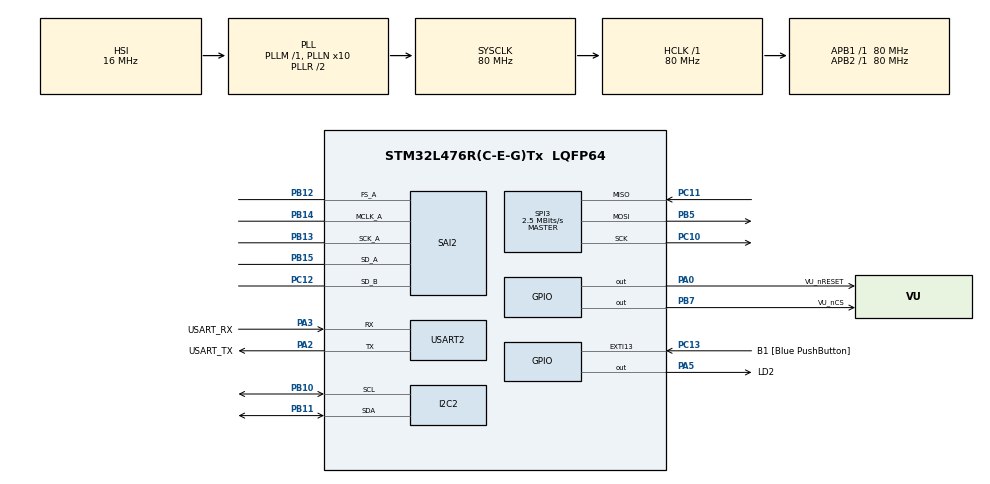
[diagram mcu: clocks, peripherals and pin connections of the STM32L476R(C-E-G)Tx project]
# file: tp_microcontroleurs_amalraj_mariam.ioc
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Dma.Request0=SAI2_A
Dma.Request1=SAI2_B
Dma.SAI2_A.0.Direction=DMA_MEMORY_TO_PERIPH
Dma.SAI2_A.0.Instance=DMA1_Channel6
Dma.SAI2_A.0.MemDataAlignment=DMA_MDATAALIGN_WORD
Dma.SAI2_A.0.MemInc=DMA_MINC_ENABLE
Dma.SAI2_A.0.Mode=DMA_CIRCULAR
Dma.SAI2_A.0.PeriphDataAlignment=DMA_PDATAALIGN_WORD
Dma.SAI2_A.0.PeriphInc=DMA_PINC_DISABLE
Dma.SAI2_A.0.Priority=DMA_PRIORITY_LOW
Dma.SAI2_B.1.Direction=DMA_PERIPH_TO_MEMORY
Dma.SAI2_B.1.Instance=DMA1_Channel7
Dma.SAI2_B.1.MemDataAlignment=DMA_MDATAALIGN_WORD
Dma.SAI2_B.1.MemInc=DMA_MINC_ENABLE
Dma.SAI2_B.1.Mode=DMA_CIRCULAR
Dma.SAI2_B.1.PeriphDataAlignment=DMA_PDATAALIGN_WORD
Dma.SAI2_B.1.PeriphInc=DMA_PINC_DISABLE
Dma.SAI2_B.1.Priority=DMA_PRIORITY_LOW
I2C2.Timing=0x10D19CE4
Mcu.Family=STM32L4
Mcu.Name=STM32L476R(C-E-G)Tx
Mcu.Package=LQFP64
NVIC.DMA1_Channel6_IRQn=true\:0\:0\:false\:false\:true\:false\:true\:true
NVIC.DMA1_Channel7_IRQn=true\:0\:0\:false\:false\:true\:false\:true\:true
NVIC.I2C2_EV_IRQn=true\:0\:0\:false\:false\:true\:true\:true\:true
NVIC.PriorityGroup=NVIC_PRIORITYGROUP_4
NVIC.SAI2_IRQn=true\:0\:0\:false\:false\:true\:true\:true\:true
PA0.GPIO_Label=VU_nRESET
PA0.PinState=GPIO_PIN_SET
PA0.Signal=GPIO_Output
PA13\ (JTMS-SWDIO).GPIO_Label=TMS
PA13\ (JTMS-SWDIO).Mode=Serial_Wire
PA13\ (JTMS-SWDIO).Signal=SYS_JTMS-SWDIO
PA14\ (JTCK-SWCLK).GPIO_Label=TCK
PA14\ (JTCK-SWCLK).Mode=Serial_Wire
PA14\ (JTCK-SWCLK).Signal=SYS_JTCK-SWCLK
PA2.GPIO_Label=USART_TX
PA2.GPIO_Mode=GPIO_MODE_AF_PP
PA2.GPIO_PuPd=GPIO_NOPULL
PA2.GPIO_Speed=GPIO_SPEED_FREQ_VERY_HIGH
PA2.Mode=Asynchronous
PA2.Signal=USART2_TX
PA3.GPIO_Label=USART_RX
PA3.GPIO_Mode=GPIO_MODE_AF_PP
PA3.GPIO_PuPd=GPIO_NOPULL
PA3.GPIO_Speed=GPIO_SPEED_FREQ_VERY_HIGH
PA3.Mode=Asynchronous
PA3.Signal=USART2_RX
PA5.GPIO_Label=LD2
PA5.GPIO_ModeDefaultOutputPP=GPIO_MODE_OUTPUT_PP
PA5.GPIO_PuPd=GPIO_NOPULL
PA5.GPIO_Speed=GPIO_SPEED_FREQ_LOW
PA5.Signal=GPIO_Output
PB10.Mode=I2C
PB10.Signal=I2C2_SCL
PB11.Mode=I2C
PB11.Signal=I2C2_SDA
PB12.Mode=SAI_A_MasterWithClock
PB12.Signal=SAI2_FS_A
PB13.Mode=SAI_A_MasterWithClock
PB13.Signal=SAI2_SCK_A
PB14.Mode=SAI_A_MasterWithClock
PB14.Signal=SAI2_MCLK_A
PB15.Mode=SAI_A_MasterWithClock
PB15.Signal=SAI2_SD_A
PB3\ (JTDO-TRACESWO).GPIO_Label=SWO
PB3\ (JTDO-TRACESWO).Signal=SYS_JTDO-SWO
PB5.Mode=Full_Duplex_Master
PB5.Signal=SPI3_MOSI
PB7.GPIO_Label=VU_nCS
PB7.PinState=GPIO_PIN_SET
PB7.Signal=GPIO_Output
PC10.Mode=Full_Duplex_Master
PC10.Signal=SPI3_SCK
PC11.Mode=Full_Duplex_Master
PC11.Signal=SPI3_MISO
PC12.Mode=SAI_B_SyncSlave
PC12.Signal=SAI2_SD_B
PC13.GPIO_Label=B1 [Blue PushButton]
PC13.GPIO_ModeDefaultEXTI=GPIO_MODE_IT_FALLING
PC13.GPIO_PuPd=GPIO_NOPULL
PC13.Signal=GPXTI13
PC14-OSC32_IN\ (PC14).Mode=LSE-External-Oscillator
PC14-OSC32_IN\ (PC14).Signal=RCC_OSC32_IN
PC15-OSC32_OUT\ (PC15).Mode=LSE-External-Oscillator
PC15-OSC32_OUT\ (PC15).Signal=RCC_OSC32_OUT
PH0-OSC_IN\ (PH0).Signal=RCC_OSC_IN
PH1-OSC_OUT\ (PH1).Signal=RCC_OSC_OUT
ProjectManager.HeapSize=0x200
ProjectManager.StackSize=0x400
ProjectManager.TargetToolchain=STM32CubeIDE
RCC.ADCFreq_Value=104000000
RCC.AHBFreq_Value=80000000
RCC.APB1Freq_Value=80000000
RCC.APB1TimFreq_Value=80000000
RCC.APB2Freq_Value=80000000
RCC.APB2TimFreq_Value=80000000
RCC.CortexFreq_Value=80000000
RCC.HCLKFreq_Value=80000000
RCC.HSE_VALUE=8000000
RCC.HSI_VALUE=16000000
RCC.MSI_VALUE=4000000
RCC.PLLN=10
RCC.PLLSAI1N=13
RCC.PLLSAI1P=RCC_PLLP_DIV17
RCC.PLLSourceVirtual=RCC_PLLSOURCE_HSI
RCC.PREFETCH_ENABLE=1
RCC.SYSCLKFreq_VALUE=80000000
RCC.SYSCLKSource=RCC_SYSCLKSOURCE_PLLCLK
RCC.USBFreq_Value=104000000
RCC.VCOOutputFreq_Value=160000000
SAI2.AudioFrequency-SAI_A_MasterWithClock=SAI_AUDIO_FREQUENCY_48K
SAI2.ErrorAudioFreq-SAI_A_MasterWithClock=-0.42 %
SAI2.InitProtocol-SAI_A_MasterWithClock=Enable
SAI2.InitProtocol-SAI_B_SyncSlave=Enable
SAI2.Instance-SAI_A_MasterWithClock=SAI$Index_Block_A
SAI2.Instance-SAI_B_SyncSlave=SAI$Index_Block_B
SAI2.MClockEnable-SAI_A_MasterWithClock=SAI_MASTERCLOCK_ENABLE
SAI2.RealAudioFreq-SAI_A_MasterWithClock=47.794 KHz
SAI2.VirtualMode-SAI_A_MasterWithClock=VM_MASTER
SAI2.VirtualMode-SAI_B_SyncSlave=VM_SLAVE
SAI2.VirtualProtocol-SAI_A_BASIC=VM_BASIC_PROTOCOL
SAI2.VirtualProtocol-SAI_B_BASIC=VM_BASIC_PROTOCOL
SPI3.BaudRatePrescaler=SPI_BAUDRATEPRESCALER_32
SPI3.CalculateBaudRate=2.5 MBits/s
SPI3.DataSize=SPI_DATASIZE_8BIT
SPI3.Direction=SPI_DIRECTION_2LINES
SPI3.Mode=SPI_MODE_MASTER
SPI3.VirtualType=VM_MASTER
USART2.VirtualMode-Asynchronous=VM_ASYNC
VP_SAI2_VP_$IpInstance_SAIA_SAI_BASIC.Mode=SAI_A_BASIC
VP_SAI2_VP_$IpInstance_SAIB_SAI_BASIC.Mode=SAI_B_BASIC
board=NUCLEO-L476RG

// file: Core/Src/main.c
/* USER CODE BEGIN Header */
/**
 ******************************************************************************
 * @file           : main.c
 * @brief          : Main program body
 ******************************************************************************
 * @attention
 *
 * Copyright (c) 2025 STMicroelectronics.
 * All rights reserved.
 *
 * This software is licensed under terms that can be found in the LICENSE file
 * in the root directory of this software component.
 * If no LICENSE file comes with this software, it is provided AS-IS.
 *
 ******************************************************************************
 */
/* USER CODE END Header */
#include "main.h"

/* USER CODE BEGIN Includes */
#include "led.h"
#include "MCP_functions.h"
#include "SGTL5000.h"

#include <stdio.h>
#include <stdbool.h>

/* USER CODE END Includes */

I2C_HandleTypeDef hi2c2;

SAI_HandleTypeDef hsai_BlockA2;
SAI_HandleTypeDef hsai_BlockB2;
DMA_HandleTypeDef hdma_sai2_a;
DMA_HandleTypeDef hdma_sai2_b;

SPI_HandleTypeDef hspi3;

UART_HandleTypeDef huart2;

/* USER CODE BEGIN PV */

LED leds[16];

/* USER CODE END PV */

void SystemClock_Config(void);
void PeriphCommonClock_Config(void);
static void MX_GPIO_Init(void);
static void MX_DMA_Init(void);
static void MX_USART2_UART_Init(void);
static void MX_SPI3_Init(void);
static void MX_I2C2_Init(void);
static void MX_SAI2_Init(void);

/* USER CODE BEGIN 0 */
// minicom -D /dev/ttyACM0
// Pour quitter : ctrl+a puis q
int __io_putchar(int chr)
{
	HAL_UART_Transmit(&huart2, (uint8_t*) &chr, 1, HAL_MAX_DELAY);
	return chr;
}

/* USER CODE END 0 */

int main(void)
{

	/* MCU Configuration--------------------------------------------------------*/

	/* Reset of all peripherals, Initializes the Flash interface and the Systick. */
	HAL_Init();

	/* Configure the system clock */
	SystemClock_Config();

	/* Configure the peripherals common clocks */
	PeriphCommonClock_Config();

	/* Initialize all configured peripherals */
	MX_GPIO_Init();
	MX_DMA_Init();
	MX_USART2_UART_Init();
	MX_SPI3_Init();
	MX_I2C2_Init();
	MX_SAI2_Init();

	__HAL_SAI_ENABLE(&hsai_BlockA2);
	/* USER CODE BEGIN 2 */

	printf("DEBUT\r\n");
	SGTL5000_Init(&hi2c2);
	MCP23S17_Init();
	LED_Init(leds);
	uint16_t data;

	uint16_t audioRxBuffer[32]; // Buffer pour la réception audio
	uint16_t audioTxBuffer[32]; // Buffer pour la transmission audio

	for (int i = 0 ; i < 32 ; i++)
		{
			audioTxBuffer[i] = i * (0xFFFF/32);
		}

	HAL_SAI_Receive_DMA(&hsai_BlockB2, (uint8_t*)audioRxBuffer, 32);
	HAL_SAI_Transmit_DMA(&hsai_BlockA2, (uint8_t*)audioTxBuffer, 32);

	/* USER CODE END 2 */

	/* Infinite loop */
	/* USER CODE BEGIN WHILE */
	while (1)
	{
		chenillard();

		/* USER CODE END WHILE */

	}
}

void SystemClock_Config(void)
{
	RCC_OscInitTypeDef RCC_OscInitStruct = {0};
	RCC_ClkInitTypeDef RCC_ClkInitStruct = {0};

	/** Configure the main internal regulator output voltage
	 */
	if (HAL_PWREx_ControlVoltageScaling(PWR_REGULATOR_VOLTAGE_SCALE1) != HAL_OK)
	{
		Error_Handler();
	}

	/** Initializes the RCC Oscillators according to the specified parameters
	 * in the RCC_OscInitTypeDef structure.
	 */
	RCC_OscInitStruct.OscillatorType = RCC_OSCILLATORTYPE_HSI;
	RCC_OscInitStruct.HSIState = RCC_HSI_ON;
	RCC_OscInitStruct.HSICalibrationValue = RCC_HSICALIBRATION_DEFAULT;
	RCC_OscInitStruct.PLL.PLLState = RCC_PLL_ON;
	RCC_OscInitStruct.PLL.PLLSource = RCC_PLLSOURCE_HSI;
	RCC_OscInitStruct.PLL.PLLM = 1;
	RCC_OscInitStruct.PLL.PLLN = 10;
	RCC_OscInitStruct.PLL.PLLP = RCC_PLLP_DIV7;
	RCC_OscInitStruct.PLL.PLLQ = RCC_PLLQ_DIV2;
	RCC_OscInitStruct.PLL.PLLR = RCC_PLLR_DIV2;
	if (HAL_RCC_OscConfig(&RCC_OscInitStruct) != HAL_OK)
	{
		Error_Handler();
	}

	/** Initializes the CPU, AHB and APB buses clocks
	 */
	RCC_ClkInitStruct.ClockType = RCC_CLOCKTYPE_HCLK|RCC_CLOCKTYPE_SYSCLK
			|RCC_CLOCKTYPE_PCLK1|RCC_CLOCKTYPE_PCLK2;
	RCC_ClkInitStruct.SYSCLKSource = RCC_SYSCLKSOURCE_PLLCLK;
	RCC_ClkInitStruct.AHBCLKDivider = RCC_SYSCLK_DIV1;
	RCC_ClkInitStruct.APB1CLKDivider = RCC_HCLK_DIV1;
	RCC_ClkInitStruct.APB2CLKDivider = RCC_HCLK_DIV1;

	if (HAL_RCC_ClockConfig(&RCC_ClkInitStruct, FLASH_LATENCY_4) != HAL_OK)
	{
		Error_Handler();
	}
}

void PeriphCommonClock_Config(void)
{
	RCC_PeriphCLKInitTypeDef PeriphClkInit = {0};

	/** Initializes the peripherals clock
	 */
	PeriphClkInit.PeriphClockSelection = RCC_PERIPHCLK_SAI2;
	PeriphClkInit.Sai2ClockSelection = RCC_SAI2CLKSOURCE_PLLSAI1;
	PeriphClkInit.PLLSAI1.PLLSAI1Source = RCC_PLLSOURCE_HSI;
	PeriphClkInit.PLLSAI1.PLLSAI1M = 1;
	PeriphClkInit.PLLSAI1.PLLSAI1N = 13;
	PeriphClkInit.PLLSAI1.PLLSAI1P = RCC_PLLP_DIV17;
	PeriphClkInit.PLLSAI1.PLLSAI1Q = RCC_PLLQ_DIV2;
	PeriphClkInit.PLLSAI1.PLLSAI1R = RCC_PLLR_DIV2;
	PeriphClkInit.PLLSAI1.PLLSAI1ClockOut = RCC_PLLSAI1_SAI1CLK;
	if (HAL_RCCEx_PeriphCLKConfig(&PeriphClkInit) != HAL_OK)
	{
		Error_Handler();
	}
}

static void MX_I2C2_Init(void)
{

	hi2c2.Instance = I2C2;
	hi2c2.Init.Timing = 0x10D19CE4;
	hi2c2.Init.OwnAddress1 = 0;
	hi2c2.Init.AddressingMode = I2C_ADDRESSINGMODE_7BIT;
	hi2c2.Init.DualAddressMode = I2C_DUALADDRESS_DISABLE;
	hi2c2.Init.OwnAddress2 = 0;
	hi2c2.Init.OwnAddress2Masks = I2C_OA2_NOMASK;
	hi2c2.Init.GeneralCallMode = I2C_GENERALCALL_DISABLE;
	hi2c2.Init.NoStretchMode = I2C_NOSTRETCH_DISABLE;
	if (HAL_I2C_Init(&hi2c2) != HAL_OK)
	{
		Error_Handler();
	}

	/** Configure Analogue filter
	 */
	if (HAL_I2CEx_ConfigAnalogFilter(&hi2c2, I2C_ANALOGFILTER_ENABLE) != HAL_OK)
	{
		Error_Handler();
	}

	/** Configure Digital filter
	 */
	if (HAL_I2CEx_ConfigDigitalFilter(&hi2c2, 0) != HAL_OK)
	{
		Error_Handler();
	}

}

static void MX_SAI2_Init(void)
{

	hsai_BlockA2.Instance = SAI2_Block_A;
	hsai_BlockA2.Init.AudioMode = SAI_MODEMASTER_TX;
	hsai_BlockA2.Init.Synchro = SAI_ASYNCHRONOUS;
	hsai_BlockA2.Init.OutputDrive = SAI_OUTPUTDRIVE_DISABLE;
	hsai_BlockA2.Init.NoDivider = SAI_MASTERDIVIDER_ENABLE;
	hsai_BlockA2.Init.FIFOThreshold = SAI_FIFOTHRESHOLD_EMPTY;
	hsai_BlockA2.Init.AudioFrequency = SAI_AUDIO_FREQUENCY_48K;
	hsai_BlockA2.Init.SynchroExt = SAI_SYNCEXT_DISABLE;
	hsai_BlockA2.Init.MonoStereoMode = SAI_STEREOMODE;
	hsai_BlockA2.Init.CompandingMode = SAI_NOCOMPANDING;
	hsai_BlockA2.Init.TriState = SAI_OUTPUT_NOTRELEASED;
	if (HAL_SAI_InitProtocol(&hsai_BlockA2, SAI_I2S_STANDARD, SAI_PROTOCOL_DATASIZE_16BIT, 2) != HAL_OK)
	{
		Error_Handler();
	}
	hsai_BlockB2.Instance = SAI2_Block_B;
	hsai_BlockB2.Init.AudioMode = SAI_MODESLAVE_RX;
	hsai_BlockB2.Init.Synchro = SAI_SYNCHRONOUS;
	hsai_BlockB2.Init.OutputDrive = SAI_OUTPUTDRIVE_DISABLE;
	hsai_BlockB2.Init.FIFOThreshold = SAI_FIFOTHRESHOLD_EMPTY;
	hsai_BlockB2.Init.SynchroExt = SAI_SYNCEXT_DISABLE;
	hsai_BlockB2.Init.MonoStereoMode = SAI_STEREOMODE;
	hsai_BlockB2.Init.CompandingMode = SAI_NOCOMPANDING;
	hsai_BlockB2.Init.TriState = SAI_OUTPUT_NOTRELEASED;
	if (HAL_SAI_InitProtocol(&hsai_BlockB2, SAI_I2S_STANDARD, SAI_PROTOCOL_DATASIZE_16BIT, 2) != HAL_OK)
	{
		Error_Handler();
	}

}

static void MX_SPI3_Init(void)
{

	/* SPI3 parameter configuration*/
	hspi3.Instance = SPI3;
	hspi3.Init.Mode = SPI_MODE_MASTER;
	hspi3.Init.Direction = SPI_DIRECTION_2LINES;
	hspi3.Init.DataSize = SPI_DATASIZE_8BIT;
	hspi3.Init.CLKPolarity = SPI_POLARITY_LOW;
	hspi3.Init.CLKPhase = SPI_PHASE_1EDGE;
	hspi3.Init.NSS = SPI_NSS_SOFT;
	hspi3.Init.BaudRatePrescaler = SPI_BAUDRATEPRESCALER_32;
	hspi3.Init.FirstBit = SPI_FIRSTBIT_MSB;
	hspi3.Init.TIMode = SPI_TIMODE_DISABLE;
	hspi3.Init.CRCCalculation = SPI_CRCCALCULATION_DISABLE;
	hspi3.Init.CRCPolynomial = 7;
	hspi3.Init.CRCLength = SPI_CRC_LENGTH_DATASIZE;
	hspi3.Init.NSSPMode = SPI_NSS_PULSE_ENABLE;
	if (HAL_SPI_Init(&hspi3) != HAL_OK)
	{
		Error_Handler();
	}

}

static void MX_USART2_UART_Init(void)
{

	huart2.Instance = USART2;
	huart2.Init.BaudRate = 115200;
	huart2.Init.WordLength = UART_WORDLENGTH_8B;
	huart2.Init.StopBits = UART_STOPBITS_1;
	huart2.Init.Parity = UART_PARITY_NONE;
	huart2.Init.Mode = UART_MODE_TX_RX;
	huart2.Init.HwFlowCtl = UART_HWCONTROL_NONE;
	huart2.Init.OverSampling = UART_OVERSAMPLING_16;
	huart2.Init.OneBitSampling = UART_ONE_BIT_SAMPLE_DISABLE;
	huart2.AdvancedInit.AdvFeatureInit = UART_ADVFEATURE_NO_INIT;
	if (HAL_UART_Init(&huart2) != HAL_OK)
	{
		Error_Handler();
	}

}

static void MX_DMA_Init(void)
{

	/* DMA controller clock enable */
	__HAL_RCC_DMA1_CLK_ENABLE();

	/* DMA interrupt init */
	/* DMA1_Channel6_IRQn interrupt configuration */
	HAL_NVIC_SetPriority(DMA1_Channel6_IRQn, 0, 0);
	HAL_NVIC_EnableIRQ(DMA1_Channel6_IRQn);
	/* DMA1_Channel7_IRQn interrupt configuration */
	HAL_NVIC_SetPriority(DMA1_Channel7_IRQn, 0, 0);
	HAL_NVIC_EnableIRQ(DMA1_Channel7_IRQn);

}

static void MX_GPIO_Init(void)
{
	GPIO_InitTypeDef GPIO_InitStruct = {0};

	/* GPIO Ports Clock Enable */
	__HAL_RCC_GPIOC_CLK_ENABLE();
	__HAL_RCC_GPIOH_CLK_ENABLE();
	__HAL_RCC_GPIOA_CLK_ENABLE();
	__HAL_RCC_GPIOB_CLK_ENABLE();

	/*Configure GPIO pin Output Level */
	HAL_GPIO_WritePin(VU_nRESET_GPIO_Port, VU_nRESET_Pin, GPIO_PIN_SET);

	/*Configure GPIO pin Output Level */
	HAL_GPIO_WritePin(LD2_GPIO_Port, LD2_Pin, GPIO_PIN_RESET);

	/*Configure GPIO pin Output Level */
	HAL_GPIO_WritePin(VU_nCS_GPIO_Port, VU_nCS_Pin, GPIO_PIN_SET);

	/*Configure GPIO pin : B1_Pin */
	GPIO_InitStruct.Pin = B1_Pin;
	GPIO_InitStruct.Mode = GPIO_MODE_IT_FALLING;
	GPIO_InitStruct.Pull = GPIO_NOPULL;
	HAL_GPIO_Init(B1_GPIO_Port, &GPIO_InitStruct);

	/*Configure GPIO pins : VU_nRESET_Pin LD2_Pin */
	GPIO_InitStruct.Pin = VU_nRESET_Pin|LD2_Pin;
	GPIO_InitStruct.Mode = GPIO_MODE_OUTPUT_PP;
	GPIO_InitStruct.Pull = GPIO_NOPULL;
	GPIO_InitStruct.Speed = GPIO_SPEED_FREQ_LOW;
	HAL_GPIO_Init(GPIOA, &GPIO_InitStruct);

	/*Configure GPIO pin : VU_nCS_Pin */
	GPIO_InitStruct.Pin = VU_nCS_Pin;
	GPIO_InitStruct.Mode = GPIO_MODE_OUTPUT_PP;
	GPIO_InitStruct.Pull = GPIO_NOPULL;
	GPIO_InitStruct.Speed = GPIO_SPEED_FREQ_LOW;
	HAL_GPIO_Init(VU_nCS_GPIO_Port, &GPIO_InitStruct);

}

void Error_Handler(void)
{
	__disable_irq();
	while (1)
	{
	}
}
